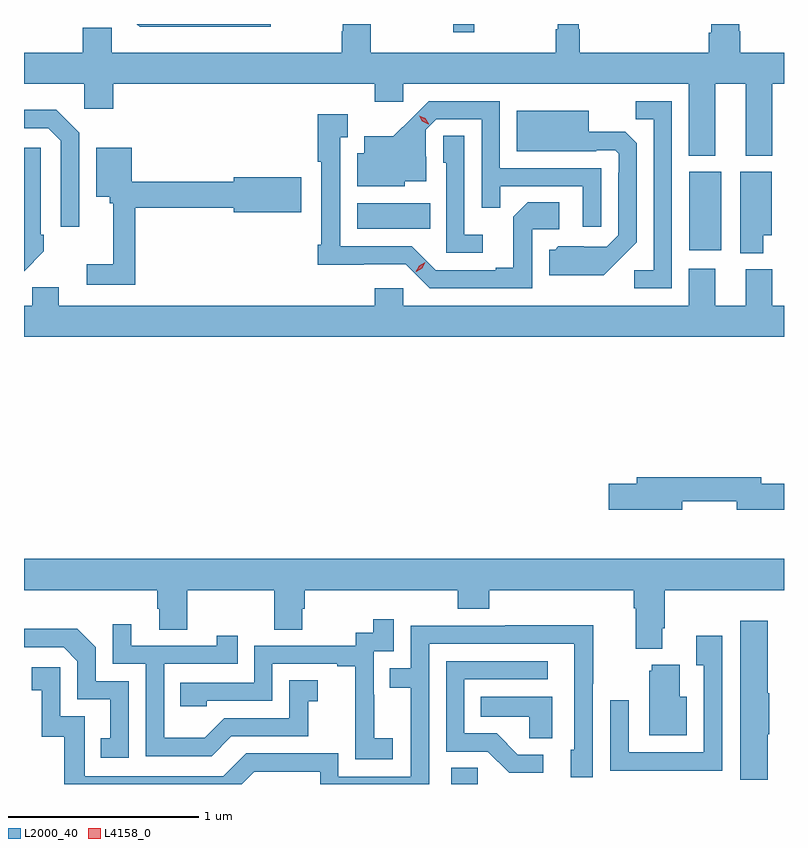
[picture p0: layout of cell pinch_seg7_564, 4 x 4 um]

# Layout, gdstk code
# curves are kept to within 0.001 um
import gdstk
lib = gdstk.Library(unit=1e-6, precision=1e-09)
def R(c, l, rs):  # rectangles x0, y0, x1, y1
    for r in rs: c.add(gdstk.rectangle(r[:2], r[2:], *l))
def P(c, l, *ps):  # polygons
    for p in ps: c.add(gdstk.Polygon(p, *l))
L2000_40 = (2000, 40)
L4158_0 = (4158, 0)

pinch_seg7_564 = lib.new_cell('pinch_seg7_564')
R(pinch_seg7_564, L2000_40, [(168.725,1054.207,168.864,1054.292), (169.979,1057.017,170.146,1057.429), (168.23,1057.13,168.614,1057.264), (168.737,1058.163,168.847,1058.207)])
P(pinch_seg7_564, L2000_40, [(170.116,1057.892),(170.276,1057.892),(170.276,1057.514),(170.416,1057.514),(170.416,1057.892),(170.477,1057.892),(170.477,1058.056),(170.246,1058.056),(170.246,1058.169),(170.241,1058.169),(170.241,1058.207),(170.093,1058.207),(170.093,1058.162),(170.081,1058.162),(170.081,1058.056),(169.403,1058.056),(169.403,1058.18),(169.396,1058.18),(169.396,1058.207),(169.286,1058.207),(169.286,1058.18),(169.275,1058.18),(169.275,1058.056),(168.301,1058.056),(168.301,1058.207),(168.154,1058.207),(168.154,1058.169),(168.149,1058.169),(168.149,1058.056),(166.938,1058.056),(166.938,1058.188),(166.787,1058.188),(166.787,1058.056),(166.477,1058.056),(166.477,1057.892),(166.794,1057.892),(166.794,1057.761),(166.946,1057.761),(166.946,1057.892),(168.323,1057.892),(168.323,1057.797),(168.474,1057.797),(168.474,1057.892),(169.976,1057.892),(169.976,1057.514),(170.116,1057.514)],
  [(167.776,1058.207),(167.071,1058.207),(167.086,1058.192),(167.776,1058.192)],
  [(169.515,1057.449),(168.981,1057.449),(168.981,1057.8),(168.608,1057.8),(168.421,1057.615),(168.269,1057.615),(168.269,1057.528),(168.23,1057.528),(168.23,1057.352),(168.48,1057.352),(168.48,1057.379),(168.595,1057.379),(168.595,1057.508),(168.591,1057.508),(168.591,1057.65),(168.648,1057.707),(168.885,1057.707),(168.885,1057.24),(168.983,1057.24),(168.983,1057.353),(169.419,1057.353),(169.419,1057.14),(169.515,1057.14)],
  [(169.887,1057.8),(169.696,1057.8),(169.696,1057.705),(169.791,1057.705),(169.791,1056.912),(169.689,1056.912),(169.689,1056.816),(169.887,1056.816)],
  [(166.767,1057.635),(166.646,1057.756),(166.477,1057.756),(166.477,1057.659),(166.605,1057.659),(166.671,1057.593),(166.671,1057.14),(166.767,1057.14)],
  [(169.609,1056.965),(169.701,1057.058),(169.701,1057.58),(169.642,1057.639),(169.45,1057.639),(169.45,1057.75),(169.07,1057.75),(169.07,1057.538),(169.49,1057.538),(169.49,1057.542),(169.59,1057.542),(169.608,1057.524),(169.608,1057.424),(169.605,1057.424),(169.605,1057.095),(169.545,1057.035),(169.288,1057.036),(169.272,1057.02),(169.241,1057.02),(169.241,1056.884),(169.529,1056.884)],
  [(169.152,1057.128),(169.294,1057.128),(169.294,1057.268),(169.129,1057.268),(169.053,1057.192),(169.053,1056.925),(168.959,1056.925),(168.959,1056.912),(168.645,1056.912),(168.519,1057.038),(168.142,1057.038),(168.142,1057.611),(168.181,1057.611),(168.181,1057.732),(168.024,1057.732),(168.024,1057.483),(168.041,1057.483),(168.041,1057.045),(168.024,1057.045),(168.024,1056.941),(168.486,1056.942),(168.612,1056.816),(169.152,1056.816)],
  [(168.892,1057.099),(168.795,1057.099),(168.795,1057.619),(168.684,1057.619),(168.684,1057.476),(168.699,1057.476),(168.699,1057.002),(168.892,1057.002)],
  [(166.581,1057.011),(166.581,1057.099),(166.566,1057.099),(166.566,1057.557),(166.477,1057.557),(166.477,1056.907)],
  [(167.063,1057.24),(167.582,1057.24),(167.582,1057.217),(167.935,1057.217),(167.935,1057.4),(167.582,1057.4),(167.582,1057.376),(167.044,1057.376),(167.044,1057.555),(166.856,1057.555),(166.856,1057.298),(166.928,1057.298),(166.928,1057.263),(166.946,1057.263),(166.946,1056.943),(166.806,1056.943),(166.806,1056.834),(167.063,1056.834)],
  [(170.368,1057.094),(170.413,1057.094),(170.413,1057.429),(170.246,1057.429),(170.246,1057.001),(170.368,1057.001)],
  [(169.976,1056.919),(169.976,1056.724),(168.474,1056.724),(168.474,1056.817),(168.323,1056.817),(168.323,1056.724),(166.66,1056.724),(166.66,1056.822),(166.521,1056.822),(166.521,1056.724),(166.477,1056.724),(166.477,1056.56),(170.477,1056.56),(170.477,1056.724),(170.416,1056.724),(170.416,1056.916),(170.276,1056.916),(170.276,1056.724),(170.116,1056.724),(170.116,1056.919)],
  [(169.942,1055.694),(170.228,1055.694),(170.228,1055.651),(170.477,1055.651),(170.477,1055.786),(170.356,1055.786),(170.356,1055.822),(169.703,1055.822),(169.703,1055.786),(169.554,1055.786),(169.554,1055.651),(169.942,1055.651)],
  [(169.837,1055.026),(169.85,1055.026),(169.85,1055.228),(170.477,1055.228),(170.477,1055.392),(166.477,1055.392),(166.477,1055.228),(167.177,1055.228),(167.177,1055.13),(167.189,1055.13),(167.189,1055.02),(167.337,1055.02),(167.337,1055.228),(167.794,1055.228),(167.794,1055.02),(167.941,1055.02),(167.941,1055.13),(167.954,1055.13),(167.954,1055.228),(168.761,1055.228),(168.761,1055.129),(168.926,1055.129),(168.926,1055.228),(169.685,1055.228),(169.685,1055.132),(169.697,1055.132),(169.697,1054.919),(169.837,1054.919)],
  [(168.418,1054.447),(168.32,1054.447),(168.32,1054.676),(168.318,1054.676),(168.318,1054.905),(168.423,1054.905),(168.423,1055.074),(168.315,1055.074),(168.315,1055.004),(168.222,1055.004),(168.222,1054.935),(167.688,1054.935),(167.688,1054.74),(167.299,1054.74),(167.299,1054.617),(167.439,1054.617),(167.439,1054.644),(167.784,1054.644),(167.784,1054.839),(168.125,1054.839),(168.125,1054.827),(168.221,1054.827),(168.221,1054.543),(168.22,1054.543),(168.22,1054.337),(168.418,1054.337)],
  [(170.392,1054.468),(170.4,1054.468),(170.4,1054.685),(170.392,1054.685),(170.392,1055.065),(170.246,1055.065),(170.246,1054.23),(170.392,1054.23)],
  [(167.569,1054.458),(167.973,1054.458),(167.973,1054.643),(168.022,1054.643),(168.022,1054.753),(167.874,1054.753),(167.874,1054.554),(167.532,1054.554),(167.428,1054.45),(167.214,1054.45),(167.214,1054.839),(167.603,1054.839),(167.603,1054.987),(167.492,1054.987),(167.492,1054.935),(167.041,1054.935),(167.041,1055.047),(166.944,1055.047),(166.944,1054.839),(167.118,1054.839),(167.118,1054.353),(167.464,1054.353)],
  [(167.688,1054.272),(168.035,1054.272),(168.035,1054.207),(168.609,1054.207),(168.609,1054.944),(169.374,1054.944),(169.374,1054.386),(169.355,1054.386),(169.355,1054.242),(169.47,1054.242),(169.47,1054.735),(169.473,1054.735),(169.473,1055.042),(169.009,1055.042),(169.009,1055.04),(168.513,1055.04),(168.513,1054.815),(168.403,1054.815),(168.403,1054.714),(168.513,1054.714),(168.513,1054.245),(168.132,1054.245),(168.132,1054.368),(167.646,1054.368),(167.526,1054.248),(166.797,1054.248),(166.797,1054.563),(166.668,1054.563),(166.668,1054.822),(166.518,1054.822),(166.518,1054.701),(166.571,1054.701),(166.571,1054.455),(166.689,1054.455),(166.689,1054.207),(167.623,1054.207)],
  [(167.028,1054.749),(166.854,1054.749),(166.854,1054.926),(166.756,1055.024),(166.477,1055.024),(166.477,1054.926),(166.686,1054.926),(166.758,1054.854),(166.758,1054.653),(166.931,1054.653),(166.931,1054.449),(166.882,1054.449),(166.882,1054.344),(167.028,1054.344)],
  [(170.151,1054.987),(170.015,1054.987),(170.015,1054.831),(170.055,1054.831),(170.055,1054.374),(169.659,1054.374),(169.659,1054.648),(169.563,1054.648),(169.563,1054.278),(169.879,1054.278),(169.879,1054.277),(170.151,1054.277)],
  [(169.21,1054.362),(169.075,1054.362),(168.964,1054.473),(168.795,1054.473),(168.795,1054.758),(169.234,1054.758),(169.234,1054.854),(168.699,1054.854),(168.699,1054.377),(168.918,1054.377),(169.031,1054.265),(169.21,1054.265)],
  [(169.966,1054.666),(169.927,1054.666),(169.927,1054.834),(169.781,1054.834),(169.781,1054.803),(169.769,1054.803),(169.769,1054.463),(169.966,1054.463)],
  [(169.258,1054.666),(168.88,1054.666),(168.88,1054.562),(169.137,1054.562),(169.137,1054.447),(169.258,1054.447)])
P(pinch_seg7_564, L4158_0, [(168.605,1057.68),(168.574,1057.695),(168.556,1057.725),(168.556,1057.725),(168.557,1057.725),(168.588,1057.71),(168.606,1057.681),(168.606,1057.68)],
  [(168.54,1056.902),(168.54,1056.903),(168.558,1056.935),(168.589,1056.954),(168.59,1056.954),(168.59,1056.954),(168.572,1056.921),(168.541,1056.902)])

lib.write_gds('pinch_seg7_564.gds')
